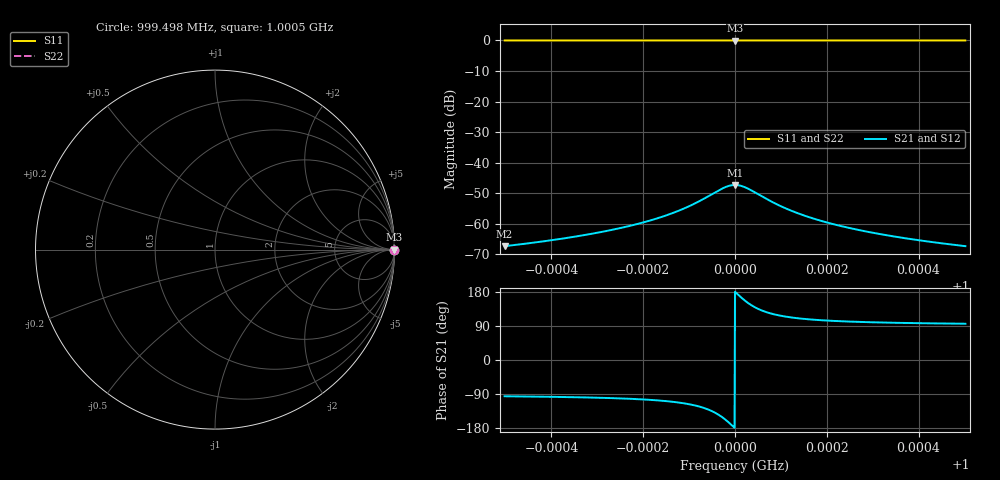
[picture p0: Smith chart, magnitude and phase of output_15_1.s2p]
! File generated for n1 = 15, n2 = 1
! b1 = 0.002154
! b2 = 0.002154
! Q0 = 10000.000000
! f0 = 1000000000.000000
! n = 1001
! rel_span = 10.000000
# Hz S RI R 50
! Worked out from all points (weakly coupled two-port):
!   1001 points, 999.498 MHz to 1.0005 GHz, reference 50 ohm
!   highest |S21| = -47.35 dB at 1 GHz (marker M1); lowest = -67.4 dB at 999.498 MHz (marker M2)
!   lowest |S11| = 0.0 dB at 1 GHz (marker M3), VSWR 465.16, Z = 2.33e+04 + j0 ohm
!   |S11| at or under -10 dB: nowhere
!   |S22| runs from 0.0 to 0.0 dB; largest |S21 - S12| = 0
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9.994978e8  1 -0.000425  -4.25e-05 -0.000425  -4.25e-05 -0.000425  1 -0.000425
9.995842e8  0.9999 -0.000511  -6.17e-05 -0.000511  -6.17e-05 -0.000511  0.9999 -0.000511
9.996656e8  0.9999 -0.00063  -9.46e-05 -0.00063  -9.46e-05 -0.00063  0.9999 -0.00063
9.99758e8  0.9998 -0.000853  -0.000177 -0.000853  -0.000177 -0.000853  0.9998 -0.000853
9.997971e8  0.9998 -0.001  -0.000248 -0.001  -0.000248 -0.001  0.9998 -0.001
9.998333e8  0.9996 -0.00118  -0.000357 -0.00118  -0.000357 -0.00118  0.9996 -0.00118
9.998684e8  0.9995 -0.00143  -0.000545 -0.00143  -0.000545 -0.00143  0.9995 -0.00143
9.998996e8  0.9991 -0.00172  -0.000858 -0.00172  -0.000858 -0.00172  0.9991 -0.00172
9.999237e8  0.9987 -0.00197  -0.0013 -0.00197  -0.0013 -0.00197  0.9987 -0.00197
9.999769e8  0.9965 -0.00163  -0.00354 -0.00163  -0.00354 -0.00163  0.9965 -0.00163
9.99989e8  0.9959 -0.0009  -0.00409 -0.0009  -0.00409 -0.0009  0.9959 -0.0009
1e9  0.9957 0  -0.00429 0  -0.00429 0  0.9957 0
1.000011e9  0.9959 0.0009  -0.00409 0.0009  -0.00409 0.0009  0.9959 0.0009
1.000023e9  0.9965 0.00163  -0.00354 0.00163  -0.00354 0.00163  0.9965 0.00163
1.000076e9  0.9987 0.00197  -0.0013 0.00197  -0.0013 0.00197  0.9987 0.00197
1.0001e9  0.9991 0.00172  -0.000858 0.00172  -0.000858 0.00172  0.9991 0.00172
1.000133e9  0.9995 0.00142  -0.000538 0.00142  -0.000538 0.00142  0.9995 0.00142
1.000168e9  0.9996 0.00118  -0.000353 0.00118  -0.000353 0.00118  0.9996 0.00118
1.000243e9  0.9998 0.00085  -0.000176 0.00085  -0.000176 0.00085  0.9998 0.00085
1.000335e9  0.9999 0.000628  -9.41e-05 0.000628  -9.41e-05 0.000628  0.9999 0.000628
1.000417e9  0.9999 0.00051  -6.14e-05 0.00051  -6.14e-05 0.00051  0.9999 0.00051
1.000502e9  1 0.000425  -4.25e-05 0.000425  -4.25e-05 0.000425  1 0.000425
